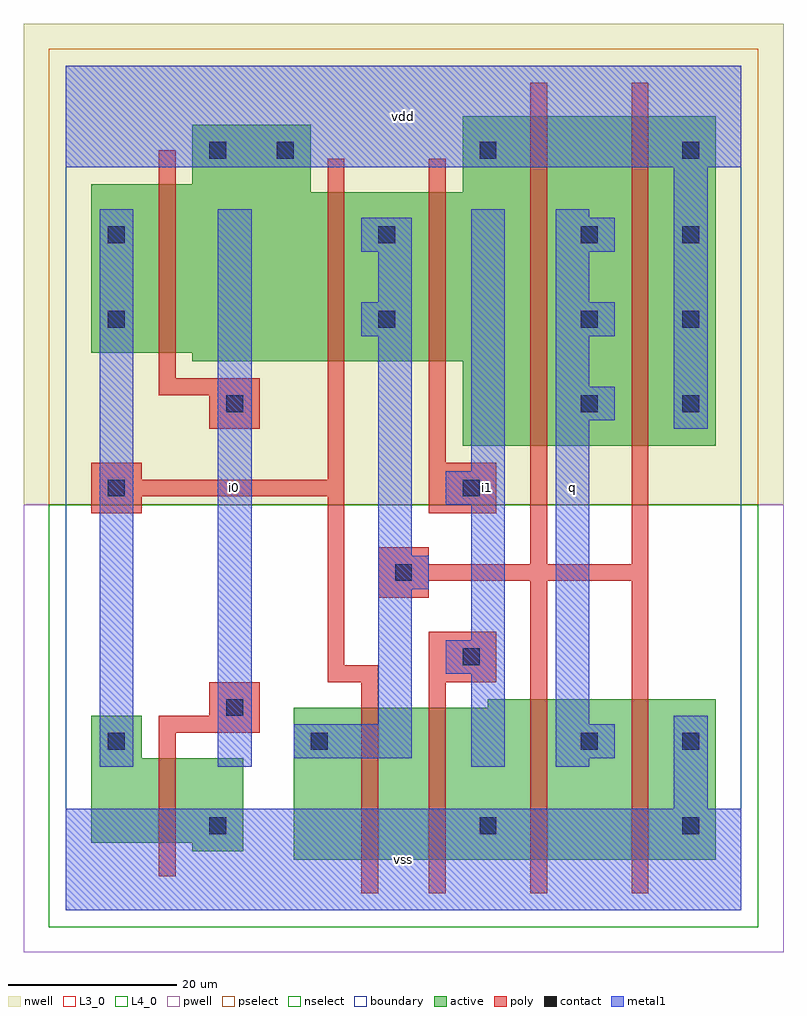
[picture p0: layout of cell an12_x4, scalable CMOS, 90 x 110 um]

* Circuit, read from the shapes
.subckt an12_x4 i0 i1 q vdd vss
M1 vss i0 n1 VSUBS nfet w=10u l=2u
M2 n2 n1 n3 VSUBS nfet w=18u l=2u
M3 vss i1 n2 VSUBS nfet w=18u l=2u
M4 q n3 vss VSUBS nfet w=19u l=2u m=2
M5 vdd i0 n1 n4 pfet w=20u l=2u
M6 n3 n1 vdd n4 pfet w=20u l=2u
M7 vdd i1 n3 n4 pfet w=20u l=2u
M8 q n3 vdd n4 pfet w=39u l=2u m=2
.ends

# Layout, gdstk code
import gdstk
lib = gdstk.Library(unit=1e-6, precision=1e-09)
def R(c, l, rs):  # rectangles x0, y0, x1, y1
    for r in rs: c.add(gdstk.rectangle(r[:2], r[2:], *l))
def A(c, l, x, y, w, h, nx, ny, dx, dy):  # array of equal rectangles
    R(c, l, [(x+i*dx, y+j*dy, x+i*dx+w, y+j*dy+h) for i in range(nx) for j in range(ny)])
L3_0 = (3, 0)
L4_0 = (4, 0)
contact = (25, 0)
pwell = (41, 0)
nwell = (42, 0)
active = (43, 0)
pselect = (44, 0)
nselect = (45, 0)
poly = (46, 0)
metal1 = (49, 0)
boundary = (63, 0)

an12_x4 = lib.new_cell('an12_x4')
R(an12_x4, L3_0, [(27,6,77,24), (15,7,21,8), (3,8,21,18), (3,18,9,23), (50,24,77,25)])
R(an12_x4, L4_0, [(47,55,77,65), (15,65,77,66), (3,66,77,85), (3,85,29,86), (47,85,77,94), (15,86,29,93)])
A(an12_x4, contact, 61, 59, 2, 2, 1, 3, 0, 10)
A(an12_x4, contact, 73, 59, 2, 2, 1, 3, 0, 10)
A(an12_x4, contact, 25, 89, 2, 2, 3, 1, 24, 0)
R(an12_x4, contact, [(17,9,19,11), (49,9,51,11), (73,9,75,11), (5,19,7,21), (29,19,31,21), (61,19,63,21), (73,19,75,21), (19,23,21,25), (47,29,49,31), (39,39,41,41), (5,49,7,51), (47,49,49,51), (19,59,21,61), (5,69,7,71), (37,69,39,71), (5,79,7,81), (37,79,39,81), (17,89,19,91)])
R(an12_x4, pwell, [(-5,-5,85,48)])
R(an12_x4, nwell, [(-5,48,85,105)])
R(an12_x4, active, [(27,6,77,24), (15,7,21,8), (3,8,21,18), (3,18,9,23), (50,24,77,25), (47,55,77,65), (15,65,77,66), (3,66,77,85), (3,85,29,86), (47,85,77,94), (15,86,29,93)])
R(an12_x4, pselect, [(-2,48,82,102)])
R(an12_x4, nselect, [(-2,-2,82,48)])
R(an12_x4, poly, [(35,2,37,27), (43,2,45,27), (55,2,57,39), (67,2,69,39), (11,4,13,21), (11,21,23,23), (17,23,23,27), (31,27,37,29), (43,27,51,33), (31,29,33,49), (37,37,43,39), (37,39,69,41), (37,41,43,43), (55,41,57,98), (67,41,69,98), (3,47,9,49), (43,47,51,53), (3,49,33,51), (3,51,9,53), (31,51,33,89), (43,53,45,89), (17,57,23,61), (11,61,23,63), (11,63,13,90)])
A(an12_x4, metal1, 58, 58, 7, 4, 1, 3, 0, 10)
R(an12_x4, metal1, [(0,0,80,12), (72,12,76,23), (4,17,8,83), (18,17,22,83), (48,17,52,28), (58,17,62,18), (27,18,41,22), (58,18,65,22), (37,22,41,38), (58,22,62,58), (45,28,52,32), (48,32,52,48), (37,38,43,42), (37,42,41,68), (45,48,52,52), (48,52,52,83), (72,57,76,88), (58,62,62,68), (35,68,41,72), (37,72,41,78), (58,72,62,78), (35,78,41,82), (58,82,62,83), (0,88,80,100)])
R(an12_x4, boundary, [(0,0,80,100)])
an12_x4.add(gdstk.Label('i0', (20,50), layer=49, texttype=0))
an12_x4.add(gdstk.Label('vss', (40,6), layer=49, texttype=0))
an12_x4.add(gdstk.Label('i1', (50,50), layer=49, texttype=0))
an12_x4.add(gdstk.Label('vdd', (40,94), layer=49, texttype=0))
an12_x4.add(gdstk.Label('q', (60,50), layer=49, texttype=0))

lib.write_gds('an12_x4.gds')
